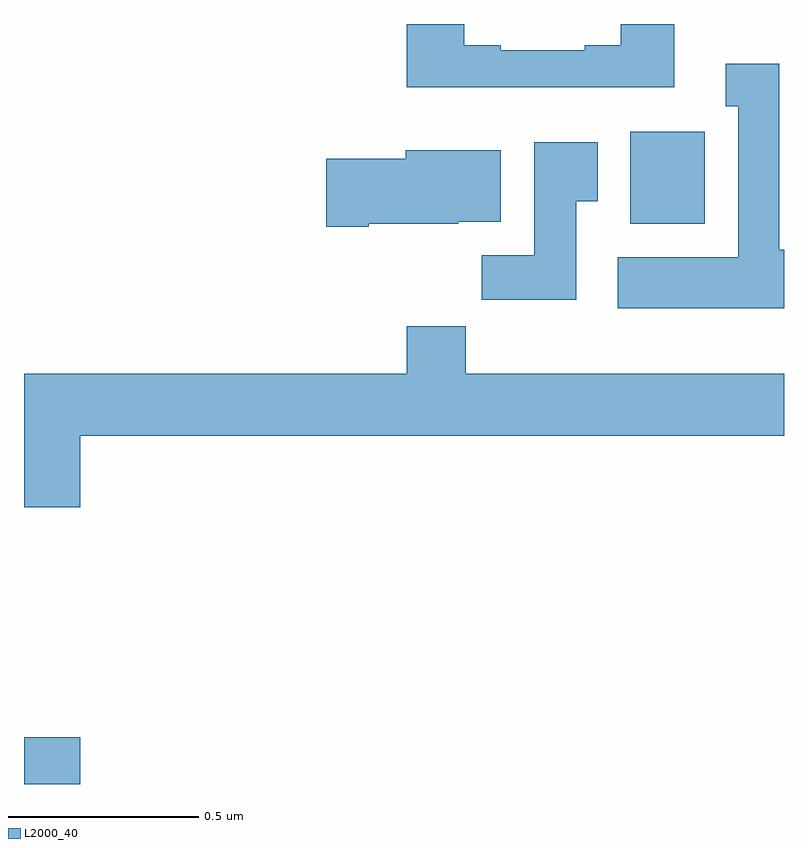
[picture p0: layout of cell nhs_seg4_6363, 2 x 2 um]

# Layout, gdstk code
import gdstk
lib = gdstk.Library(unit=1e-6, precision=1e-09)
def R(c, l, rs):  # rectangles x0, y0, x1, y1
    for r in rs: c.add(gdstk.rectangle(r[:2], r[2:], *l))
def P(c, l, *ps):  # polygons
    for p in ps: c.add(gdstk.Polygon(p, *l))
L2000_40 = (2000, 40)

nhs_seg4_6363 = lib.new_cell('nhs_seg4_6363')
R(nhs_seg4_6363, L2000_40, [(189,799.9,189.148,800.023), (190.595,801.374,190.792,801.616)])
P(nhs_seg4_6363, L2000_40, [(190.711,801.9),(190.571,801.9),(190.571,801.844),(190.475,801.844),(190.475,801.831),(190.255,801.831),(190.255,801.844),(190.159,801.844),(190.159,801.9),(190.007,801.9),(190.007,801.734),(190.711,801.734)],
  [(191,801.306),(190.987,801.306),(190.987,801.796),(190.847,801.796),(190.847,801.683),(190.88,801.683),(190.88,801.286),(190.563,801.286),(190.563,801.152),(191,801.152)],
  [(190.453,801.433),(190.51,801.433),(190.51,801.589),(190.343,801.589),(190.343,801.292),(190.204,801.292),(190.204,801.174),(190.453,801.174)],
  [(189.907,801.374),(190.143,801.374),(190.143,801.38),(190.255,801.38),(190.255,801.568),(190.004,801.568),(190.004,801.545),(189.795,801.545),(189.795,801.367),(189.907,801.367)],
  [(189.148,800.816),(191,800.816),(191,800.98),(190.163,800.98),(190.163,801.104),(190.007,801.104),(190.007,800.98),(189,800.98),(189,800.628),(189.148,800.628)])

lib.write_gds('nhs_seg4_6363.gds')
